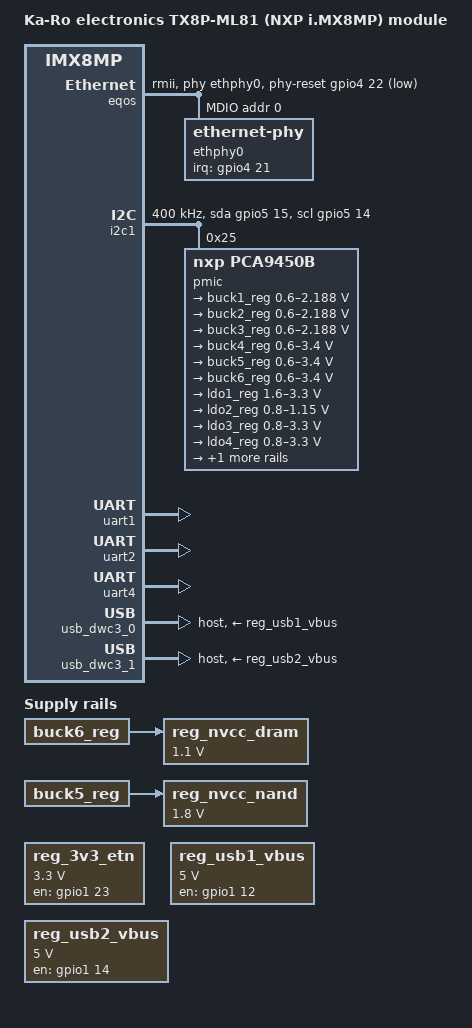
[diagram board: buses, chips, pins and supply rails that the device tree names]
// SPDX-License-Identifier: (GPL-2.0 OR MIT)
/*
 * Copyright (C) 2020 Lothar Waßmann <LW@KARO-electronics.de>
 *
 */

/dts-v1/;

#include "imx8mp-karo.dtsi"

/ {
	model = "Ka-Ro electronics TX8P-ML81 (NXP i.MX8MP) module";
	compatible = "karo,imx8mp-tx8m", "fsl,imx8mp";

	aliases {
		serial0 = &uart1;
		serial1 = &uart2;
		serial2 = &uart4;
	};

	reg_3v3_etn: regulator-3v3-etn {
		compatible = "regulator-fixed";
		pinctrl-names = "default";
		pinctrl-0 = <&pinctrl_reg_3v3_etn>;
		regulator-name = "3v3-etn";
		regulator-min-microvolt = <3300000>;
		regulator-max-microvolt = <3300000>;
		gpio = <&gpio1 23 GPIO_ACTIVE_HIGH>;
		enable-active-high;
	};

	reg_nvcc_dram: regulator-nvcc-dram {
		compatible = "regulator-fixed";
		regulator-name = "nvcc-dram";
		regulator-min-microvolt = <1100000>;
		regulator-max-microvolt = <1100000>;
		vin-supply = <&buck6_reg>;
		regulator-boot-on;
		regulator-always-on;
	};

	reg_nvcc_nand: regulator-nvcc-nand {
		compatible = "regulator-fixed";
		regulator-name = "nvcc-nand";
		regulator-min-microvolt = <1800000>;
		regulator-max-microvolt = <1800000>;
		vin-supply = <&buck5_reg>;
		regulator-boot-on;
	};

	reg_usb1_vbus: regulator-usb1-vbus {
		compatible = "regulator-fixed";
		pinctrl-names = "default";
		pinctrl-0 = <&pinctrl_usb1_vbus>;
		regulator-name = "usb1-vbus";
		regulator-min-microvolt = <5000000>;
		regulator-max-microvolt = <5000000>;
		gpio = <&gpio1 12 GPIO_ACTIVE_HIGH>;
		enable-active-high;
	};

	reg_usb2_vbus: regulator-usb2-vbus {
		compatible = "regulator-fixed";
		pinctrl-names = "default";
		pinctrl-0 = <&pinctrl_usb2_vbus>;
		regulator-name = "usb2-vbus";
		regulator-min-microvolt = <5000000>;
		regulator-max-microvolt = <5000000>;
		gpio = <&gpio1 14 GPIO_ACTIVE_HIGH>;
		enable-active-high;
	};
};

&A53_0 {
	cpu-supply = <&reg_vdd_core>;
};

&eqos {
	pinctrl-names = "default", "sleep";
	pinctrl-0 = <&pinctrl_eqos &pinctrl_etnphy_rst_b>;
	pinctrl-1 = <&pinctrl_eqos_sleep>;
	assigned-clock-parents = <&clk IMX8MP_SYS_PLL1_266M>,
				 <&clk IMX8MP_SYS_PLL2_100M>,
				 <&clk IMX8MP_SYS_PLL2_50M>;
	assigned-clock-rates = <0>, <100000000>, <50000000>;
	phy-mode = "rmii";
	phy-handle = <&ethphy0>;
	phy-reset-gpios = <&gpio4 22 GPIO_ACTIVE_LOW>;
	phy-reset-duration-us = <25000>;
	phy-reset-post-delay-us = <1>;
	status = "okay";

	mdio {
		#address-cells = <1>;
		#size-cells = <0>;
		compatible = "snps,dwmac-mdio";

		ethphy0: ethernet-phy@0 {
			reg = <0>;
			pinctrl-names = "default";
			pinctrl-0 = <&pinctrl_etnphy_int_b>;
			interrupt-parent = <&gpio4>;
			interrupts = <21 IRQ_TYPE_EDGE_FALLING>;
		};
	};
};

&i2c1 {
	pinctrl-names = "default", "gpio";
	pinctrl-0 = <&pinctrl_i2c1>;
	pinctrl-1 = <&pinctrl_i2c1_gpio>;
	clock-frequency = <400000>;
	scl-gpios = <&gpio5 14 GPIO_ACTIVE_HIGH>;
	sda-gpios = <&gpio5 15 GPIO_ACTIVE_HIGH>;
	status = "okay";

	pmic: pmic@25 {
		reg = <0x25>;
		compatible = "nxp,pca9450b";
		status = "okay";

		regulators {
			#address-cells = <1>;
			#size-cells = <0>;

			buck1_reg: regulator@0 {
				reg = <0>;
				regulator-compatible = "buck1";
				regulator-min-microvolt = <600000>;
				regulator-max-microvolt = <2187500>;
				regulator-boot-on;
				regulator-always-on;
				regulator-ramp-delay = <3125>;
			};

			buck2_reg: regulator@1 {
				reg = <1>;
				regulator-compatible = "buck2";
				regulator-min-microvolt = <600000>;
				regulator-max-microvolt = <2187500>;
				regulator-boot-on;
				regulator-always-on;
				regulator-ramp-delay = <3125>;
			};

			buck3_reg: regulator@2 {
				reg = <2>;
				regulator-compatible = "buck3";
				regulator-min-microvolt = <600000>;
				regulator-max-microvolt = <2187500>;
				regulator-boot-on;
				regulator-always-on;
			};

			buck4_reg: regulator@3 {
				reg = <3>;
				regulator-compatible = "buck4";
				regulator-min-microvolt = <600000>;
				regulator-max-microvolt = <3400000>;
				regulator-boot-on;
				regulator-always-on;
			};

			buck5_reg: regulator@4 {
				reg = <4>;
				regulator-compatible = "buck5";
				regulator-min-microvolt = <600000>;
				regulator-max-microvolt = <3400000>;
			};

			buck6_reg: regulator@5 {
				reg = <5>;
				regulator-compatible = "buck6";
				regulator-min-microvolt = <600000>;
				regulator-max-microvolt = <3400000>;
			};

			ldo1_reg: regulator@6 {
				reg = <6>;
				regulator-compatible = "ldo1";
				regulator-min-microvolt = <1600000>;
				regulator-max-microvolt = <3300000>;
				regulator-boot-on;
				regulator-always-on;
			};

			ldo2_reg: regulator@7 {
				reg = <7>;
				regulator-compatible = "ldo2";
				regulator-min-microvolt = <800000>;
				regulator-max-microvolt = <1150000>;
				regulator-boot-on;
				regulator-always-on;
			};

			ldo3_reg: regulator@8 {
				reg = <8>;
				regulator-compatible = "ldo3";
				regulator-min-microvolt = <800000>;
				regulator-max-microvolt = <3300000>;
				regulator-boot-on;
				regulator-always-on;
			};

			ldo4_reg: regulator@9 {
				reg = <9>;
				regulator-compatible = "ldo4";
				regulator-min-microvolt = <800000>;
				regulator-max-microvolt = <3300000>;
				regulator-boot-on;
				regulator-always-on;
			};

			ldo5_reg: regulator@10 {
				reg = <10>;
				regulator-compatible = "ldo5";
				regulator-min-microvolt = <1800000>;
				regulator-max-microvolt = <3300000>;
			};
		};
	};
};

&reg_vdd_core {
	vin-supply = <&buck2_reg>;
};

&uart1 { /* console */
	pinctrl-names = "default";
	pinctrl-0 = <&pinctrl_uart1 &pinctrl_uart1_rtscts>;
	uart-has-rtscts;
	status = "okay";
};

&uart2 {
	pinctrl-names = "default";
	pinctrl-0 = <&pinctrl_uart2 &pinctrl_uart2_rtscts>;
	uart-has-rtscts;
	status = "okay";
};

&uart4 {
	pinctrl-names = "default";
	pinctrl-0 = <&pinctrl_uart4 &pinctrl_uart4_rtscts>;
	uart-has-rtscts;
	status = "okay";
};

&usb_dwc3_0 {
	dr_mode = "host";
	pinctrl-names = "default";
	pinctrl-0 = <&pinctrl_usb1_oc>;
	hnp-disable;
	srp-disable;
	adp-disable;
	vbus-supply = <&reg_usb1_vbus>;
	status = "okay";
};

&usb_dwc3_1 {
	dr_mode = "host";
	pinctrl-names = "default";
	pinctrl-0 = <&pinctrl_usb2_oc>;
	hnp-disable;
	srp-disable;
	adp-disable;
	vbus-supply = <&reg_usb2_vbus>;
	status = "okay";
};

&usdhc3 { /* eMMC */
	vqmmc-supply = <&reg_nvcc_nand>;
};

&iomuxc {
	pinctrl_etnphy_int_b: etnphy-int-bgrp {
		fsl,pins = <
			    MX8MP_IOMUXC_SAI2_RXFS__GPIO4_IO21		0x00
		>;
	};

	pinctrl_etnphy_rst_b: etnphy-rst-bgrp {
		fsl,pins = <
			    MX8MP_IOMUXC_SAI2_RXC__GPIO4_IO22		0x00
		>;
	};

	pinctrl_reg_3v3_etn: reg-3v3-etngrp {
		fsl,pins = <
			    MX8MP_IOMUXC_ENET_TXC__GPIO1_IO23		0x40000140
		>;
	};

	pinctrl_eqos: eqosgrp {
		fsl,pins = <
			    MX8MP_IOMUXC_ENET_MDC__ENET_QOS_MDC		0x142
			    MX8MP_IOMUXC_ENET_MDIO__ENET_QOS_MDIO	0x142
			    MX8MP_IOMUXC_ENET_TD2__CCM_ENET_QOS_CLOCK_GENERATE_REF_CLK 0x40000142
			    MX8MP_IOMUXC_ENET_TD0__ENET_QOS_RGMII_TD0	0x016
			    MX8MP_IOMUXC_ENET_TD1__ENET_QOS_RGMII_TD1	0x016
			    MX8MP_IOMUXC_ENET_RD0__ENET_QOS_RGMII_RD0	0x150
			    MX8MP_IOMUXC_ENET_RD1__ENET_QOS_RGMII_RD1	0x150
			    MX8MP_IOMUXC_ENET_RXC__ENET_QOS_RX_ER	0x110
			    MX8MP_IOMUXC_ENET_RX_CTL__ENET_QOS_RGMII_RX_CTL 0x156
			    MX8MP_IOMUXC_ENET_TX_CTL__ENET_QOS_RGMII_TX_CTL 0x016
		>;
	};

	pinctrl_eqos_sleep: eqos-sleep-grp {
		fsl,pins = <
			    MX8MP_IOMUXC_ENET_MDC__GPIO1_IO16		0x120
			    MX8MP_IOMUXC_ENET_MDIO__GPIO1_IO17		0x120
			    MX8MP_IOMUXC_ENET_TD2__GPIO1_IO19		0x120
			    MX8MP_IOMUXC_ENET_TD0__GPIO1_IO21		0x120
			    MX8MP_IOMUXC_ENET_TD1__GPIO1_IO20		0x120
			    MX8MP_IOMUXC_ENET_RD0__GPIO1_IO26		0x120
			    MX8MP_IOMUXC_ENET_RD1__GPIO1_IO27		0x120
			    MX8MP_IOMUXC_ENET_RXC__GPIO1_IO25		0x120
			    MX8MP_IOMUXC_ENET_RX_CTL__GPIO1_IO24	0x120
			    MX8MP_IOMUXC_ENET_TX_CTL__GPIO1_IO22	0x120
		>;
	};

	pinctrl_uart1: uart1grp {
		fsl,pins = <
			MX8MP_IOMUXC_UART1_RXD__UART1_DCE_RX		0x140
			MX8MP_IOMUXC_UART1_TXD__UART1_DCE_TX		0x140
		>;
	};

	pinctrl_uart1_rtscts: uart1-rtsctsgrp {
		fsl,pins = <
			MX8MP_IOMUXC_UART3_TXD__UART1_DCE_RTS		0x140
			MX8MP_IOMUXC_UART3_RXD__UART1_DCE_CTS		0x140
		>;
	};

	pinctrl_uart2: uart2grp {
		fsl,pins = <
			MX8MP_IOMUXC_UART2_RXD__UART2_DCE_RX		0x140
			MX8MP_IOMUXC_UART2_TXD__UART2_DCE_TX		0x140
		>;
	};

	pinctrl_uart2_rtscts: uart2-rtsctsgrp {
		fsl,pins = <
			MX8MP_IOMUXC_SAI3_RXD__UART2_DCE_RTS		0x140
			MX8MP_IOMUXC_SAI3_RXC__UART2_DCE_CTS		0x140
		>;
	};

	pinctrl_uart4: uart4grp {
		fsl,pins = <
			MX8MP_IOMUXC_UART4_RXD__UART4_DCE_RX		0x140
			MX8MP_IOMUXC_UART4_TXD__UART4_DCE_TX		0x140
		>;
	};

	pinctrl_uart4_rtscts: uart4-rtsctsgrp {
		fsl,pins = <
			MX8MP_IOMUXC_ECSPI2_SS0__UART4_DCE_RTS		0x140
			MX8MP_IOMUXC_ECSPI2_MISO__UART4_DCE_CTS		0x140
		>;
	};

	pinctrl_usb1_vbus: usb1-vbusgrp {
		fsl,pins = <
			MX8MP_IOMUXC_GPIO1_IO12__GPIO1_IO12		0x100
		>;
	};

	pinctrl_usb1_oc: usb1-ocgrp {
		fsl,pins = <
			MX8MP_IOMUXC_GPIO1_IO13__USB1_OTG_OC		0x140
		>;
	};

	pinctrl_usb2_vbus: usb2-vbusgrp {
		fsl,pins = <
			MX8MP_IOMUXC_GPIO1_IO14__GPIO1_IO14		0x100
		>;
	};

	pinctrl_usb2_oc: usb2-ocgrp {
		fsl,pins = <
			MX8MP_IOMUXC_GPIO1_IO15__USB2_OTG_OC		0x140
		>;
	};
};
